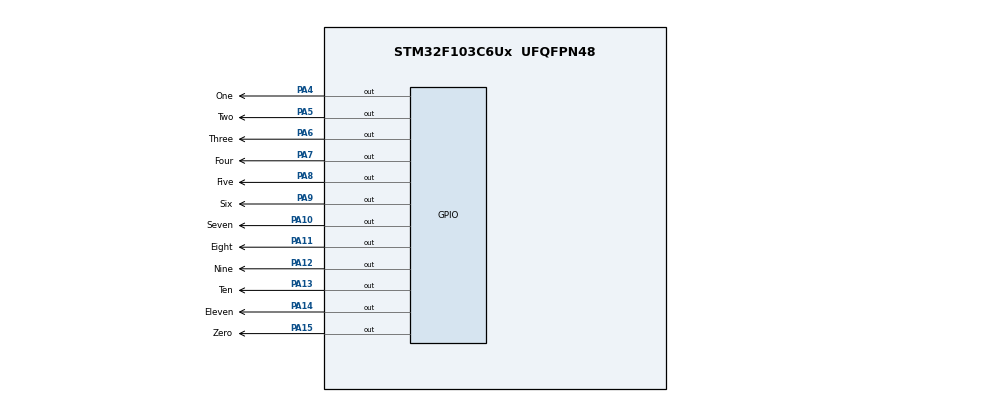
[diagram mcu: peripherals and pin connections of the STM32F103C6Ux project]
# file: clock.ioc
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Mcu.Family=STM32F1
Mcu.Name=STM32F103C6Ux
Mcu.Package=UFQFPN48
NVIC.PriorityGroup=NVIC_PRIORITYGROUP_4
PA10.GPIO_Label=Seven
PA10.Signal=GPIO_Output
PA11.GPIO_Label=Eight
PA11.Signal=GPIO_Output
PA12.GPIO_Label=Nine
PA12.Signal=GPIO_Output
PA13.GPIO_Label=Ten
PA13.Signal=GPIO_Output
PA14.GPIO_Label=Eleven
PA14.Signal=GPIO_Output
PA15.GPIO_Label=Zero
PA15.Signal=GPIO_Output
PA4.GPIO_Label=One
PA4.Signal=GPIO_Output
PA5.GPIO_Label=Two
PA5.Signal=GPIO_Output
PA6.GPIO_Label=Three
PA6.Signal=GPIO_Output
PA7.GPIO_Label=Four
PA7.Signal=GPIO_Output
PA8.GPIO_Label=Five
PA8.Signal=GPIO_Output
PA9.GPIO_Label=Six
PA9.Signal=GPIO_Output
ProjectManager.HeapSize=0x200
ProjectManager.StackSize=0x400
ProjectManager.TargetToolchain=STM32CubeIDE
RCC.APB1Freq_Value=8000000
RCC.APB2Freq_Value=8000000
VP_SYS_VS_ND.Mode=No_Debug
board=custom

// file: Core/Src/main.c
/* USER CODE BEGIN Header */
/**
  ******************************************************************************
  * @file           : main.c
  * @brief          : Main program body
  ******************************************************************************
  * @attention
  *
  * <h2><center>&copy; Copyright (c) 2025 STMicroelectronics.
  * All rights reserved.</center></h2>
  *
  * This software component is licensed by ST under BSD 3-Clause license,
  * the "License"; You may not use this file except in compliance with the
  * License. You may obtain a copy of the License at:
  *                        opensource.org/licenses/BSD-3-Clause
  *
  ******************************************************************************
  */
/* USER CODE END Header */
#include "main.h"

void SystemClock_Config(void);
static void MX_GPIO_Init(void);

void clearAllClock(void) {
	HAL_GPIO_WritePin(GPIOA, One_Pin|Two_Pin|Three_Pin|Four_Pin
		                          |Five_Pin|Six_Pin|Seven_Pin|Eight_Pin
		                          |Nine_Pin|Ten_Pin|Eleven_Pin|Zero_Pin, RESET);
}

int main(void)
{

  /* MCU Configuration--------------------------------------------------------*/

  /* Reset of all peripherals, Initializes the Flash interface and the Systick. */
  HAL_Init();

  /* Configure the system clock */
  SystemClock_Config();

  /* Initialize all configured peripherals */
  MX_GPIO_Init();

  /* Infinite loop */
  /* USER CODE BEGIN WHILE */

  int step = 0;

  while (1)
  {
	  switch (step) {
	  	  case 0:
			  HAL_GPIO_WritePin(Zero_GPIO_Port, Zero_Pin, SET);
			  break;
	  	  case 1:
	  		  HAL_GPIO_WritePin(One_GPIO_Port, One_Pin, SET);
	  		  break;
	  	  case 2:
			  HAL_GPIO_WritePin(Two_GPIO_Port, Two_Pin, SET);
			  break;
	  	  case 3:
			  HAL_GPIO_WritePin(Three_GPIO_Port, Three_Pin, SET);
			  break;
	  	  case 4:
			  HAL_GPIO_WritePin(Four_GPIO_Port, Four_Pin, SET);
			  break;
	  	  case 5:
			  HAL_GPIO_WritePin(Five_GPIO_Port, Five_Pin, SET);
			  break;
	  	  case 6:
			  HAL_GPIO_WritePin(Six_GPIO_Port, Six_Pin, SET);
			  break;
	  	  case 7:
			  HAL_GPIO_WritePin(Seven_GPIO_Port, Seven_Pin, SET);
			  break;
	  	  case 8:
			  HAL_GPIO_WritePin(Eight_GPIO_Port, Eight_Pin, SET);
			  break;
	  	  case 9:
			  HAL_GPIO_WritePin(Nine_GPIO_Port, Nine_Pin, SET);
			  break;
	  	  case 10:
			  HAL_GPIO_WritePin(Ten_GPIO_Port, Ten_Pin, SET);
			  break;
	  	  case 11:
			  HAL_GPIO_WritePin(Eleven_GPIO_Port, Eleven_Pin, SET);
			  break;

	  }
	  HAL_Delay(1000);

	  step++;
	  if (step >= 12) {
		  clearAllClock();
		  step = 0;
	  }

    /* USER CODE END WHILE */

  }
}

void SystemClock_Config(void)
{
  RCC_OscInitTypeDef RCC_OscInitStruct = {0};
  RCC_ClkInitTypeDef RCC_ClkInitStruct = {0};

  /** Initializes the RCC Oscillators according to the specified parameters
  * in the RCC_OscInitTypeDef structure.
  */
  RCC_OscInitStruct.OscillatorType = RCC_OSCILLATORTYPE_HSI;
  RCC_OscInitStruct.HSIState = RCC_HSI_ON;
  RCC_OscInitStruct.HSICalibrationValue = RCC_HSICALIBRATION_DEFAULT;
  RCC_OscInitStruct.PLL.PLLState = RCC_PLL_NONE;
  if (HAL_RCC_OscConfig(&RCC_OscInitStruct) != HAL_OK)
  {
    Error_Handler();
  }
  /** Initializes the CPU, AHB and APB buses clocks
  */
  RCC_ClkInitStruct.ClockType = RCC_CLOCKTYPE_HCLK|RCC_CLOCKTYPE_SYSCLK
                              |RCC_CLOCKTYPE_PCLK1|RCC_CLOCKTYPE_PCLK2;
  RCC_ClkInitStruct.SYSCLKSource = RCC_SYSCLKSOURCE_HSI;
  RCC_ClkInitStruct.AHBCLKDivider = RCC_SYSCLK_DIV1;
  RCC_ClkInitStruct.APB1CLKDivider = RCC_HCLK_DIV1;
  RCC_ClkInitStruct.APB2CLKDivider = RCC_HCLK_DIV1;

  if (HAL_RCC_ClockConfig(&RCC_ClkInitStruct, FLASH_LATENCY_0) != HAL_OK)
  {
    Error_Handler();
  }
}

static void MX_GPIO_Init(void)
{
  GPIO_InitTypeDef GPIO_InitStruct = {0};

  /* GPIO Ports Clock Enable */
  __HAL_RCC_GPIOA_CLK_ENABLE();

  /*Configure GPIO pin Output Level */
  HAL_GPIO_WritePin(GPIOA, One_Pin|Two_Pin|Three_Pin|Four_Pin
                          |Five_Pin|Six_Pin|Seven_Pin|Eight_Pin
                          |Nine_Pin|Ten_Pin|Eleven_Pin|Zero_Pin, GPIO_PIN_RESET);

  /*Configure GPIO pins : One_Pin Two_Pin Three_Pin Four_Pin
                           Five_Pin Six_Pin Seven_Pin Eight_Pin
                           Nine_Pin Ten_Pin Eleven_Pin Zero_Pin */
  GPIO_InitStruct.Pin = One_Pin|Two_Pin|Three_Pin|Four_Pin
                          |Five_Pin|Six_Pin|Seven_Pin|Eight_Pin
                          |Nine_Pin|Ten_Pin|Eleven_Pin|Zero_Pin;
  GPIO_InitStruct.Mode = GPIO_MODE_OUTPUT_PP;
  GPIO_InitStruct.Pull = GPIO_NOPULL;
  GPIO_InitStruct.Speed = GPIO_SPEED_FREQ_LOW;
  HAL_GPIO_Init(GPIOA, &GPIO_InitStruct);

}

void Error_Handler(void)
{
  __disable_irq();
  while (1)
  {
  }
}

/************************ (C) COPYRIGHT STMicroelectronics *****END OF FILE****/
